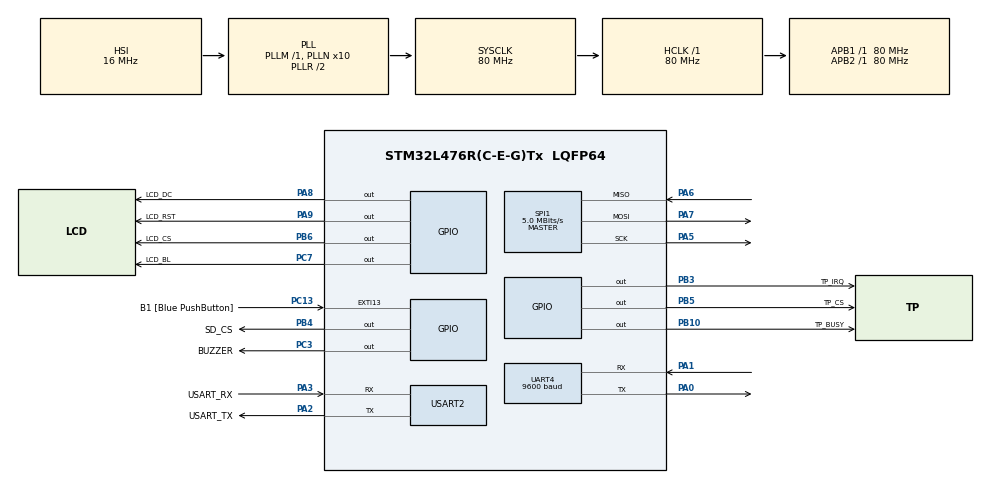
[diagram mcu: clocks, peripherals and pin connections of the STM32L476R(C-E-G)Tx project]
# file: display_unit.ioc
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Mcu.Family=STM32L4
Mcu.Name=STM32L476R(C-E-G)Tx
Mcu.Package=LQFP64
NVIC.PriorityGroup=NVIC_PRIORITYGROUP_4
NVIC.UART4_IRQn=true\:0\:0\:false\:false\:true\:true\:true\:true
NVIC.USART2_IRQn=true\:0\:0\:false\:false\:true\:true\:true\:true
PA0.Mode=Asynchronous
PA0.Signal=UART4_TX
PA1.Mode=Asynchronous
PA1.Signal=UART4_RX
PA13\ (JTMS-SWDIO).GPIO_Label=TMS
PA13\ (JTMS-SWDIO).Mode=Serial_Wire
PA13\ (JTMS-SWDIO).Signal=SYS_JTMS-SWDIO
PA14\ (JTCK-SWCLK).GPIO_Label=TCK
PA14\ (JTCK-SWCLK).Mode=Serial_Wire
PA14\ (JTCK-SWCLK).Signal=SYS_JTCK-SWCLK
PA2.GPIO_Label=USART_TX
PA2.GPIO_Mode=GPIO_MODE_AF_PP
PA2.GPIO_PuPd=GPIO_NOPULL
PA2.GPIO_Speed=GPIO_SPEED_FREQ_VERY_HIGH
PA2.Mode=Asynchronous
PA2.Signal=USART2_TX
PA3.GPIO_Label=USART_RX
PA3.GPIO_Mode=GPIO_MODE_AF_PP
PA3.GPIO_PuPd=GPIO_NOPULL
PA3.GPIO_Speed=GPIO_SPEED_FREQ_VERY_HIGH
PA3.Mode=Asynchronous
PA3.Signal=USART2_RX
PA5.Mode=Full_Duplex_Master
PA5.Signal=SPI1_SCK
PA6.Mode=Full_Duplex_Master
PA6.Signal=SPI1_MISO
PA7.Mode=Full_Duplex_Master
PA7.Signal=SPI1_MOSI
PA8.GPIO_Label=LCD_DC
PA8.Signal=GPIO_Output
PA9.GPIO_Label=LCD_RST
PA9.Signal=GPIO_Output
PB10.GPIO_Label=TP_BUSY
PB10.Signal=GPIO_Output
PB3\ (JTDO-TRACESWO).GPIO_Label=TP_IRQ
PB3\ (JTDO-TRACESWO).Signal=GPIO_Output
PB4\ (NJTRST).GPIO_Label=SD_CS
PB4\ (NJTRST).Signal=GPIO_Output
PB5.GPIO_Label=TP_CS
PB5.Signal=GPIO_Output
PB6.GPIO_Label=LCD_CS
PB6.Signal=GPIO_Output
PC13.GPIO_Label=B1 [Blue PushButton]
PC13.GPIO_ModeDefaultEXTI=GPIO_MODE_IT_FALLING
PC13.GPIO_PuPd=GPIO_NOPULL
PC13.Signal=GPXTI13
PC14-OSC32_IN\ (PC14).Mode=LSE-External-Oscillator
PC14-OSC32_IN\ (PC14).Signal=RCC_OSC32_IN
PC15-OSC32_OUT\ (PC15).Mode=LSE-External-Oscillator
PC15-OSC32_OUT\ (PC15).Signal=RCC_OSC32_OUT
PC3.GPIO_Label=BUZZER
PC3.Signal=GPIO_Output
PC7.GPIO_Label=LCD_BL
PC7.Signal=GPIO_Output
PH0-OSC_IN\ (PH0).Signal=RCC_OSC_IN
PH1-OSC_OUT\ (PH1).Signal=RCC_OSC_OUT
ProjectManager.HeapSize=0x200
ProjectManager.StackSize=0x400
ProjectManager.TargetToolchain=STM32CubeIDE
RCC.ADCFreq_Value=64000000
RCC.AHBFreq_Value=80000000
RCC.APB1Freq_Value=80000000
RCC.APB1TimFreq_Value=80000000
RCC.APB2Freq_Value=80000000
RCC.APB2TimFreq_Value=80000000
RCC.CortexFreq_Value=80000000
RCC.HCLKFreq_Value=80000000
RCC.HSE_VALUE=8000000
RCC.HSI_VALUE=16000000
RCC.MSI_VALUE=4000000
RCC.PLLN=10
RCC.PLLSourceVirtual=RCC_PLLSOURCE_HSI
RCC.PREFETCH_ENABLE=1
RCC.SYSCLKFreq_VALUE=80000000
RCC.SYSCLKSource=RCC_SYSCLKSOURCE_PLLCLK
RCC.USBFreq_Value=64000000
RCC.VCOOutputFreq_Value=160000000
SPI1.BaudRatePrescaler=SPI_BAUDRATEPRESCALER_16
SPI1.CLKPhase=SPI_PHASE_1EDGE
SPI1.CLKPolarity=SPI_POLARITY_LOW
SPI1.CalculateBaudRate=5.0 MBits/s
SPI1.DataSize=SPI_DATASIZE_8BIT
SPI1.Direction=SPI_DIRECTION_2LINES
SPI1.Mode=SPI_MODE_MASTER
SPI1.VirtualType=VM_MASTER
UART4.BaudRate=9600
USART2.VirtualMode-Asynchronous=VM_ASYNC
VP_TIM6_VS_ClockSourceINT.Mode=Enable_Timer
board=NUCLEO-L476RG

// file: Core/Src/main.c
/* USER CODE BEGIN Header */
/**
  ******************************************************************************
  * @file           : main.c
  * @brief          : Main program body
  ******************************************************************************
  * @attention
  *
  * Copyright (c) 2026 STMicroelectronics.
  * All rights reserved.
  *
  * This software is licensed under terms that can be found in the LICENSE file
  * in the root directory of this software component.
  * If no LICENSE file comes with this software, it is provided AS-IS.
  *
  ******************************************************************************
  */
/* USER CODE END Header */
#include "main.h"
#include "spi.h"
#include "tim.h"
#include "usart.h"
#include "gpio.h"

/* USER CODE BEGIN Includes */
#include <stdio.h>
#include <stdbool.h>
#include "DEV_Config.h"
#include "LCD_Driver.h"
#include "LCD_GUI.h"
#include "auxiliary_functions.h"
/* USER CODE END Includes */

/* USER CODE BEGIN PV */
const DisplayRow sensor_rows[] = {
        {FONT_SIZE*0, "WiFi connection: ", 17},
        {FONT_SIZE*1, "Temperature: ", 13},
        {FONT_SIZE*2, "Humidity: ", 10},
        {FONT_SIZE*3, "Pressure: ", 10},
        {FONT_SIZE*4, "Light_V intensity: ", 19},
        {FONT_SIZE*5, "Light_G intensity: ", 19}
};
const uint8_t SENSOR_ROWS_LEN = sizeof(sensor_rows) / sizeof(sensor_rows[0]);

volatile uint32_t ticks;

uint8_t rx_byte;
uint8_t rx_mess[MESS_SIZE];
volatile int16_t j = -1;
bool analyze_mess_rdy;
bool wifi_show_flag;
bool wifi_connection;
bool buzzer_active;
uint32_t last_wifi_check;
uint32_t last_tick_time;
int hum;

/* USER CODE END PV */

void SystemClock_Config(void);

int main(void)
{

    /* MCU Configuration--------------------------------------------------------*/

    /* Reset of all peripherals, Initializes the Flash interface and the Systick. */
    HAL_Init();

    /* Configure the system clock */
    SystemClock_Config();

    /* Initialize all configured peripherals */
    MX_GPIO_Init();
    MX_USART2_UART_Init();
    MX_SPI1_Init();
    MX_TIM6_Init();
    MX_UART4_Init();
    /* USER CODE BEGIN 2 */
    System_Init();
    SysTick_Config(80000000 / 100000); // 0.01 ms

    LCD_SCAN_DIR Lcd_ScanDir = SCAN_DIR_DFT;//SCAN_DIR_DFT = D2U_L2R
    HAL_GPIO_WritePin(LCD_BL_GPIO_Port, LCD_BL_Pin, GPIO_PIN_SET);
    LCD_Init(Lcd_ScanDir, 800);
    LCD_Clear(WHITE);

    // gui init
    for (uint8_t i = 0; i < SENSOR_ROWS_LEN; i++)
    {
        GUI_DisString_EN(0, sensor_rows[i].y_pos, sensor_rows[i].label, &Font24, WHITE, BLACK);
    }

    __HAL_UART_CLEAR_IT(&huart4, UART_CLEAR_OREF | UART_CLEAR_NEF | UART_CLEAR_FEF | UART_CLEAR_PEF);
    HAL_UART_Receive_IT(&huart4, &rx_byte, 1);

    /* USER CODE END 2 */

    /* Infinite loop */
    while (1)
    {

        /* USER CODE BEGIN 3 */
        if (analyze_mess_rdy)
        {
            if (wifi_connection == false)
            {
                wifi_connection = true;
                show_wifi(wifi_connection);
            }

            last_wifi_check = HAL_GetTick();

            analyze_mess_rdy = false;
            analyze_mess();
        }
        else if (wifi_connection == true && (HAL_GetTick() - last_wifi_check) >= 500000)
        {
            wifi_connection = false;
            show_wifi(wifi_connection);
        }

        check_alarm();

    }
    /* USER CODE END 3 */
}

void SystemClock_Config(void)
{
    RCC_OscInitTypeDef RCC_OscInitStruct = {0};
    RCC_ClkInitTypeDef RCC_ClkInitStruct = {0};

    /** Configure the main internal regulator output voltage
    */
    if (HAL_PWREx_ControlVoltageScaling(PWR_REGULATOR_VOLTAGE_SCALE1) != HAL_OK)
    {
    Error_Handler();
    }

    /** Initializes the RCC Oscillators according to the specified parameters
    * in the RCC_OscInitTypeDef structure.
    */
    RCC_OscInitStruct.OscillatorType = RCC_OSCILLATORTYPE_HSI;
    RCC_OscInitStruct.HSIState = RCC_HSI_ON;
    RCC_OscInitStruct.HSICalibrationValue = RCC_HSICALIBRATION_DEFAULT;
    RCC_OscInitStruct.PLL.PLLState = RCC_PLL_ON;
    RCC_OscInitStruct.PLL.PLLSource = RCC_PLLSOURCE_HSI;
    RCC_OscInitStruct.PLL.PLLM = 1;
    RCC_OscInitStruct.PLL.PLLN = 10;
    RCC_OscInitStruct.PLL.PLLP = RCC_PLLP_DIV7;
    RCC_OscInitStruct.PLL.PLLQ = RCC_PLLQ_DIV2;
    RCC_OscInitStruct.PLL.PLLR = RCC_PLLR_DIV2;
    if (HAL_RCC_OscConfig(&RCC_OscInitStruct) != HAL_OK)
    {
    Error_Handler();
    }

    /** Initializes the CPU, AHB and APB buses clocks
    */
    RCC_ClkInitStruct.ClockType = RCC_CLOCKTYPE_HCLK|RCC_CLOCKTYPE_SYSCLK
                              |RCC_CLOCKTYPE_PCLK1|RCC_CLOCKTYPE_PCLK2;
    RCC_ClkInitStruct.SYSCLKSource = RCC_SYSCLKSOURCE_PLLCLK;
    RCC_ClkInitStruct.AHBCLKDivider = RCC_SYSCLK_DIV1;
    RCC_ClkInitStruct.APB1CLKDivider = RCC_HCLK_DIV1;
    RCC_ClkInitStruct.APB2CLKDivider = RCC_HCLK_DIV1;

    if (HAL_RCC_ClockConfig(&RCC_ClkInitStruct, FLASH_LATENCY_4) != HAL_OK)
    {
    Error_Handler();
    }
}

/* USER CODE BEGIN 4 */
void HAL_UART_RxCpltCallback(UART_HandleTypeDef *huart)
{
    if (huart->Instance == UART4)
    {
        HAL_UART_Transmit(&huart2, &rx_byte, sizeof(rx_byte), 100);
        HAL_UART_Receive_IT(&huart4, &rx_byte, 1);
        analyze_mess_rdy = true;
    }
}

/* USER CODE END 4 */

void Error_Handler(void)
{
    __disable_irq();
    while (1)
    {
    }
}
